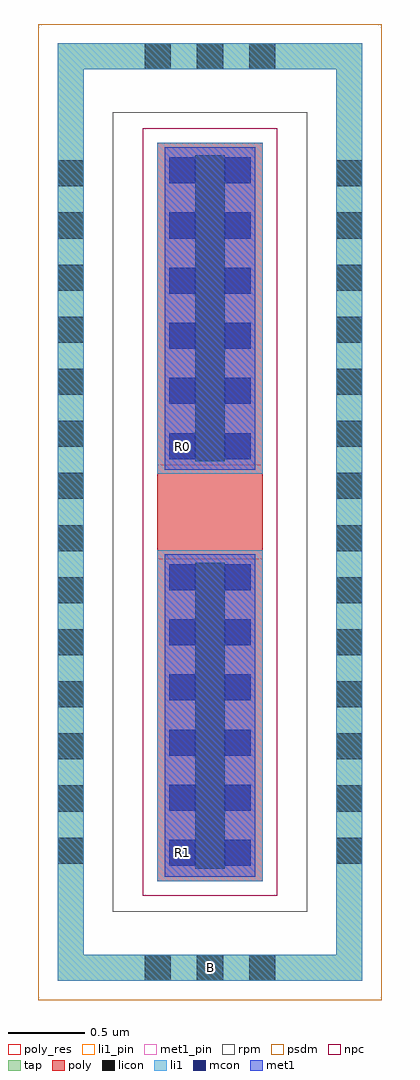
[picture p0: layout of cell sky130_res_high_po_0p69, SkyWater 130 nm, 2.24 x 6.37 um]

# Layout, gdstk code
import gdstk
lib = gdstk.Library(unit=1e-6, precision=1e-09)
def R(c, l, rs):  # rectangles x0, y0, x1, y1
    for r in rs: c.add(gdstk.rectangle(r[:2], r[2:], *l))
def A(c, l, x, y, w, h, nx, ny, dx, dy):  # array of equal rectangles
    R(c, l, [(x+i*dx, y+j*dy, x+i*dx+w, y+j*dy+h) for i in range(nx) for j in range(ny)])
tap = (65, 44)
poly_res = (66, 13)
poly = (66, 20)
licon = (66, 44)
li1_pin = (67, 16)
li1 = (67, 20)
mcon = (67, 44)
met1_pin = (68, 16)
met1 = (68, 20)
rpm = (86, 20)
psdm = (94, 20)
npc = (95, 20)

res_poly = lib.new_cell('res_poly')
R(res_poly, tap, [(-0.995,-3.06,0.995,-2.89), (-0.995,-2.89,-0.825,2.89), (0.825,-2.89,0.995,2.89), (-0.995,2.89,0.995,3.06)])
R(res_poly, poly_res, [(-0.345,-0.31,0.345,0.31)])
R(res_poly, poly, [(-0.345,-2.41,0.345,2.41)])
A(res_poly, licon, -0.425, -3.06, 0.17, 0.17, 3, 2, 0.34, 5.95)
A(res_poly, licon, -0.995, -2.295, 0.17, 0.17, 1, 14, 0, 0.34)
A(res_poly, licon, 0.825, -2.295, 0.17, 0.17, 1, 14, 0, 0.34)
R(res_poly, licon, [(-0.095,-2.33,0.095,-0.33), (-0.095,0.33,0.095,2.33)])
R(res_poly, li1, [(-0.995,-3.06,0.995,-2.89), (-0.995,-2.89,-0.825,2.89), (0.825,-2.89,0.995,2.89), (-0.345,-2.41,0.345,-0.25), (-0.345,0.25,0.345,2.41), (-0.995,2.89,0.995,3.06)])
A(res_poly, mcon, -0.265, -2.31, 0.17, 0.17, 1, 6, 0, 0.36)
A(res_poly, mcon, 0.095, -2.31, 0.17, 0.17, 1, 6, 0, 0.36)
A(res_poly, mcon, -0.265, 0.345, 0.17, 0.17, 1, 6, 0, 0.36)
A(res_poly, mcon, 0.095, 0.345, 0.17, 0.17, 1, 6, 0, 0.36)
R(res_poly, met1, [(-0.295,-2.38,0.295,-0.275), (-0.295,0.275,0.295,2.38)])
R(res_poly, rpm, [(-0.635,-2.61,0.635,2.61)])
R(res_poly, psdm, [(-1.12,-3.185,1.12,3.185)])
R(res_poly, npc, [(-0.44,-2.505,0.44,2.505)])

sky130_res_high_po_0p69 = lib.new_cell('sky130_res_high_po_0p69')
R(sky130_res_high_po_0p69, li1_pin, [(-0.085,-3.06,0.085,-2.89)])
R(sky130_res_high_po_0p69, met1_pin, [(-0.265,-2.31,-0.095,-2.14), (-0.265,0.345,-0.095,0.515)])
sky130_res_high_po_0p69.add(gdstk.Reference(res_poly, (0,0)))
sky130_res_high_po_0p69.add(gdstk.Label('R0', (-0.18,0.43), layer=68, texttype=5))
sky130_res_high_po_0p69.add(gdstk.Label('R1', (-0.18,-2.225), layer=68, texttype=5))
sky130_res_high_po_0p69.add(gdstk.Label('B', (0,-2.975), layer=67, texttype=5))

lib.write_gds('sky130_res_high_po_0p69.gds')
